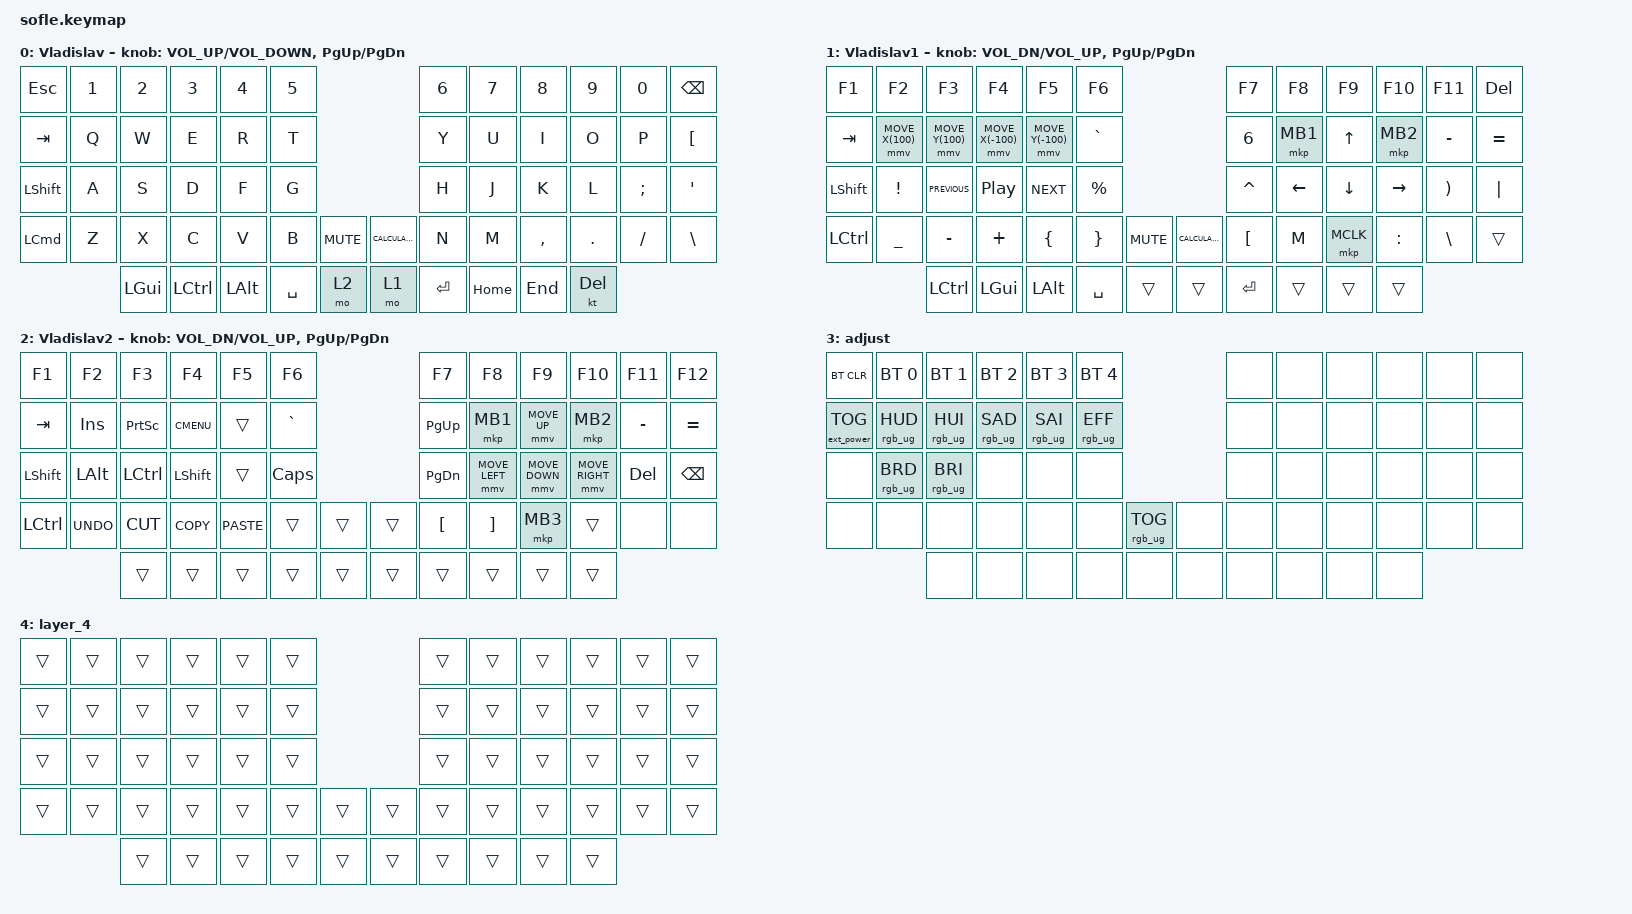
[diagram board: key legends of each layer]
/*
 * Copyright (c) 2020 The ZMK Contributors
 *
 * SPDX-License-Identifier: MIT
 */

#include <behaviors.dtsi>
#include <dt-bindings/zmk/bt.h>
#include <dt-bindings/zmk/ext_power.h>
#include <dt-bindings/zmk/keys.h>
#include <dt-bindings/zmk/pointing.h>
#include <dt-bindings/zmk/rgb.h>

#define BASE 0
#define LOWER 1
#define RAISE 2
#define ADJUST 3
#define ZMK_POINTING_DEFAULT_MOVE_VAL 1500
#define ZMK_POINTING_DEFAULT_SCRL_VAL 10

/ {
    // Activate ADJUST layer by pressing raise and lower

    conditional_layers {
        compatible = "zmk,conditional-layers";

        adjust_layer {
            if-layers = <LOWER RAISE>;
            then-layer = <ADJUST>;
        };
    };

    combos { compatible = "zmk,combos"; };

    keymap {
        compatible = "zmk,keymap";

        zero_layer {
            display-name = "Vladislav";

            // ------------------------------------------------------------------------------------------------------------
            // |   `   |  1  |  2  |  3   |  4   |  5   |                   |  6   |  7    |  8    |  9   |   0   |   =   |
            // |  ESC  |  Q  |  W  |  E   |  R   |  T   |                   |  Y   |  U    |  I    |  O   |   P   |   [   |
            // |  TAB  |  A  |  S  |  D   |  F   |  G   |                   |  H   |  J    |  K    |  L   |   ;   |   ]   |
            // | LCTRL |  Z  |  X  |  C   |  V   |  B   |  MUTE  |  |       |  N   |  M    |  ,    |  .   |   /   |   '   |
            //               | GUI | DEL  |LSHIFT| LOWER|  ENTER |  | SPACE | RAISE|BACKSPC| ALT   | GUI  |

            bindings = <
&kp ESC           &kp N1  &kp N2    &kp N3            &kp N4        &kp N5                                     &kp N6     &kp N7    &kp N8     &kp N9   &kp N0    &kp BACKSPACE
&kp TAB           &kp Q   &kp W     &kp E             &kp R         &kp T                                      &kp Y      &kp U     &kp I      &kp O    &kp P     &kp LEFT_BRACKET
&kp LEFT_SHIFT    &kp A   &kp S     &kp D             &kp F         &kp G                                      &kp H      &kp J     &kp K      &kp L    &kp SEMI  &kp SQT
&kp LEFT_COMMAND  &kp Z   &kp X     &kp C             &kp V         &kp B      &kp C_MUTE    &kp K_CALCULATOR  &kp N      &kp M     &kp COMMA  &kp DOT  &kp FSLH  &kp BSLH
                          &kp LGUI  &kp LEFT_CONTROL  &kp LEFT_ALT  &kp SPACE  &mo 2         &mo 1             &kp ENTER  &kp HOME  &kp END    &kt DEL
            >;

            sensor-bindings =
                <&inc_dec_kp C_VOLUME_UP C_VOLUME_DOWN>,
                <&inc_dec_kp PG_UP PG_DN>;
        };

        first_layer {
            display-name = "Vladislav1";

            // TODO: Some binds are waiting for shifted keycode support.
            // ------------------------------------------------------------------------------------------------------------
            // |       |  F1 |  F2 |  F3  |  F4  |  F5  |                   |  F6  |  F7   |  F8   |  F9  |  F10  |  F11  |
            // |   `   |  1  |  2  |  3   |  4   |  5   |                   |  6   |  7    |  8    |  9   |   0   |  F12  |
            // |       |  !  |  @  |  #   |  $   |  %   |                   |  ^   |  &    |  *    |  (   |   )   |   |   |
            // |       |  =  |  -  |  +   |  {   |  }   |        |  |       |  [   |  ]    |  ;    |  :   |   \   |       |
            //               |     |      |      |      |        |  |       |      |       |       |      |

            bindings = <
&kp F1          &kp F2            &kp F3            &kp F4             &kp F5             &kp F6                                     &kp F7     &kp F8          &kp F9          &kp F10          &kp F11    &kp DEL
&kp TAB         &mmv MOVE_X(100)  &mmv MOVE_Y(100)  &mmv MOVE_X(-100)  &mmv MOVE_Y(-100)  &kp GRAVE                                  &kp N6     &mkp MB1        &kp UP_ARROW    &mkp MB2         &kp MINUS  &kp EQUAL
&kp LEFT_SHIFT  &kp EXCL          &kp C_PREVIOUS    &kp C_PLAY_PAUSE   &kp C_NEXT         &kp PRCNT                                  &kp CARET  &kp LEFT_ARROW  &kp DOWN_ARROW  &kp RIGHT_ARROW  &kp RPAR   &kp PIPE
&kp LCTRL       &kp UNDERSCORE    &kp MINUS         &kp PLUS           &kp LBRC           &kp RBRC   &kp K_MUTE    &kp K_CALCULATOR  &kp LBKT   &kp M           &mkp MCLK       &kp COLON        &kp BSLH   &trans
                                  &kp LEFT_CONTROL  &kp LEFT_GUI       &kp LEFT_ALT       &kp SPACE  &trans        &trans            &kp ENTER  &trans          &trans          &trans
            >;

            sensor-bindings =
                <&inc_dec_kp C_VOL_DN C_VOL_UP>,
                <&inc_dec_kp PG_UP PG_DN>;
        };

        second_layer {
            display-name = "Vladislav2";

            // ------------------------------------------------------------------------------------------------------------
            // | BTCLR | BT1  | BT2  |  BT3  |  BT4  |  BT5 |                |      |      |       |      |       |       |
            // |       | INS  | PSCR | GUI   |       |      |                | PGUP |      |   ^   |      |       |       |
            // |       | ALT  | CTRL | SHIFT |       | CAPS |                | PGDN |   <- |   v   |  ->  |  DEL  | BKSPC |
            // |       | UNDO | CUT  | COPY  | PASTE |      |      |  |      |      |      |       |      |       |       |
            //                |      |       |       |      |      |  |      |      |      |       |      |

            bindings = <
&kp F1            &kp F2      &kp F3     &kp F4       &kp F5       &kp F6                       &kp F7     &kp F8          &kp F9          &kp F10          &kp F11    &kp F12
&kp TAB           &kp INS     &kp PSCRN  &kp K_CMENU  &trans       &kp GRAVE                    &kp PG_UP  &mkp MB1        &mmv MOVE_UP    &mkp MB2         &kp MINUS  &kp EQUAL
&kp LEFT_SHIFT    &kp LALT    &kp LCTRL  &kp LSHFT    &trans       &kp CLCK                     &kp PG_DN  &mmv MOVE_LEFT  &mmv MOVE_DOWN  &mmv MOVE_RIGHT  &kp DEL    &kp BSPC
&kp LEFT_CONTROL  &kp K_UNDO  &kp K_CUT  &kp K_COPY   &kp K_PASTE  &trans     &trans    &trans  &kp LBKT   &kp RBKT        &mkp MB3        &trans           &none      &none
                              &trans     &trans       &trans       &trans     &trans    &trans  &trans     &trans          &trans          &trans
            >;

            sensor-bindings =
                <&inc_dec_kp C_VOL_DN C_VOL_UP>,
                <&inc_dec_kp PG_UP PG_DN>;
        };

        adjust_layer {
            // ----------------------------------------------------------------------------------------------------------------------------
            // | BTCLR  |  BT1    |  BT2    |   BT3   |   BT4   |   BT5   |                  |      |      |       |      |       |       |
            // | EXTPWR | RGB_HUD | RGB_HUI | RGB_SAD | RGB_SAI | RGB_EFF |                  |      |      |       |      |       |       |
            // |        | RGB_BRD | RGB_BRI |         |         |         |                  |      |      |       |      |       |       |
            // |        |         |         |         |         |         | RGB_TOG | |      |      |      |       |      |       |       |
            //                    |         |         |         |         |         | |      |      |      |       |      |

            display-name = "adjust";
            bindings = <
&bt BT_CLR         &bt BT_SEL 0     &bt BT_SEL 1     &bt BT_SEL 2     &bt BT_SEL 3     &bt BT_SEL 4                               &none  &none  &none  &none  &none  &none
&ext_power EP_TOG  &rgb_ug RGB_HUD  &rgb_ug RGB_HUI  &rgb_ug RGB_SAD  &rgb_ug RGB_SAI  &rgb_ug RGB_EFF                            &none  &none  &none  &none  &none  &none
&none              &rgb_ug RGB_BRD  &rgb_ug RGB_BRI  &none            &none            &none                                      &none  &none  &none  &none  &none  &none
&none              &none            &none            &none            &none            &none            &rgb_ug RGB_TOG    &none  &none  &none  &none  &none  &none  &none
                                    &none            &none            &none            &none            &none              &none  &none  &none  &none  &none
            >;
        };

        layer_4 {
            bindings = <
&trans  &trans  &trans  &trans  &trans  &trans                    &trans  &trans  &trans  &trans  &trans  &trans
&trans  &trans  &trans  &trans  &trans  &trans                    &trans  &trans  &trans  &trans  &trans  &trans
&trans  &trans  &trans  &trans  &trans  &trans                    &trans  &trans  &trans  &trans  &trans  &trans
&trans  &trans  &trans  &trans  &trans  &trans  &trans    &trans  &trans  &trans  &trans  &trans  &trans  &trans
                &trans  &trans  &trans  &trans  &trans    &trans  &trans  &trans  &trans  &trans
            >;
        };
    };
};
